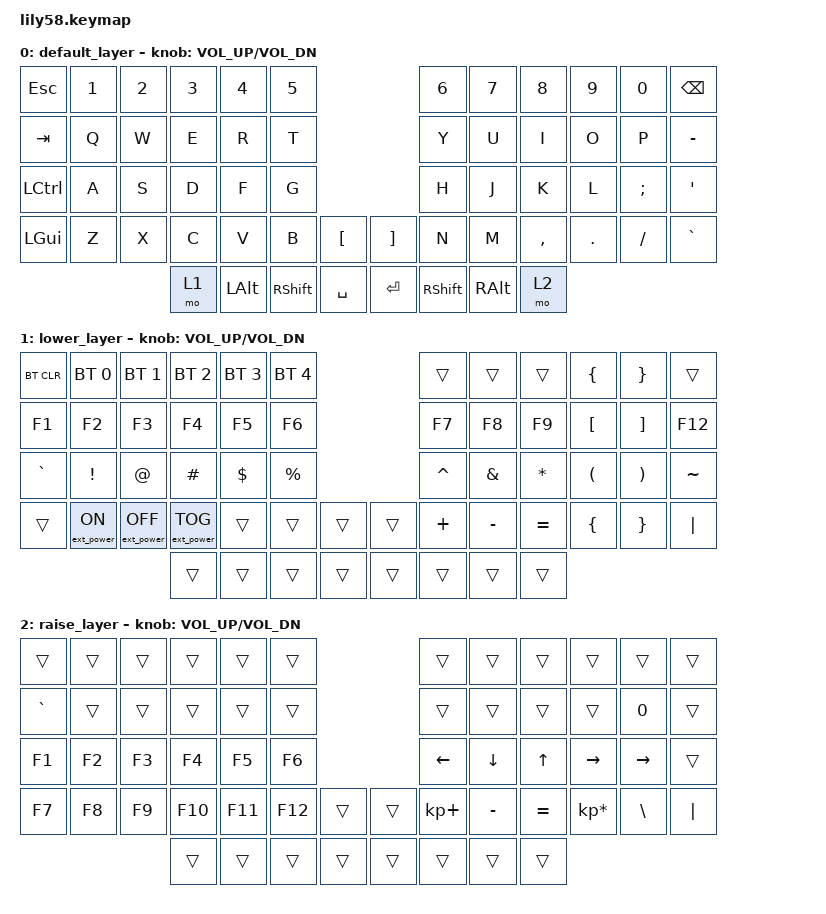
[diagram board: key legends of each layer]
/*
 * Copyright (c) 2020 The ZMK Contributors
 *
 * SPDX-License-Identifier: MIT
 */

#include <behaviors.dtsi>
#include <dt-bindings/zmk/bt.h>
#include <dt-bindings/zmk/ext_power.h>
#include <dt-bindings/zmk/keys.h>

/ {
    keymap {
        compatible = "zmk,keymap";

        default_layer {
            // ------------------------------------------------------------------------------------------------------------
            // |  ESC  |  1  |  2  |  3   |  4   |  5   |                   |  6   |  7    |  8    |  9   |   0   |   `   |
            // |  TAB  |  Q  |  W  |  E   |  R   |  T   |                   |  Y   |  U    |  I    |  O   |   P   |   -   |
            // |  CTRL |  A  |  S  |  D   |  F   |  G   |                   |  H   |  J    |  K    |  L   |   ;   |   '   |
            // | SHIFT |  Z  |  X  |  C   |  V   |  B   |   "["  |  |  "]"  |  N   |  M    |  ,    |  .   |   /   | SHIFT |
            //                     | ALT  | GUI  | LOWER|  SPACE |  | ENTER | RAISE| BSPC  | GUI   |

            bindings = <
&kp ESC       &kp N1  &kp N2  &kp N3  &kp N4        &kp N5                                  &kp N6           &kp N7         &kp N8     &kp N9   &kp N0    &kp BACKSPACE
&kp TAB       &kp Q   &kp W   &kp E   &kp R         &kp T                                   &kp Y            &kp U          &kp I      &kp O    &kp P     &kp MINUS
&kp LCTRL     &kp A   &kp S   &kp D   &kp F         &kp G                                   &kp H            &kp J          &kp K      &kp L    &kp SEMI  &kp SQT
&kp LEFT_GUI  &kp Z   &kp X   &kp C   &kp V         &kp B            &kp LBKT     &kp RBKT  &kp N            &kp M          &kp COMMA  &kp DOT  &kp FSLH  &kp GRAVE
                              &mo 1   &kp LEFT_ALT  &kp RIGHT_SHIFT  &kp SPACE    &kp RET   &kp RIGHT_SHIFT  &kp RIGHT_ALT  &mo 2
            >;

            sensor-bindings = <&inc_dec_kp C_VOL_UP C_VOL_DN>;
        };

        lower_layer {
            // ------------------------------------------------------------------------------------------------------------
            // | BTCLR | BT1 | BT2 |  BT3 |  BT4 |  BT5 |                   |      |       |       |      |       |       |
            // |  F1   |  F2 |  F3 |  F4  |  F5  |  F6  |                   |  F7  |  F8   |  F9   |  F10 |  F11  |  F12  |
            // |   `   |  !  |  @  |  #   |  $   |  %   |                   |  ^   |  &    |  *    |  (   |   )   |   ~   |
            // |       |     |     |      |      |      |        |  |       |      |  _    |  +    |  {   |   }   |  "|"  |
            //                     |      |      |      |        |  |       |      |       |       |

            bindings = <
&bt BT_CLR  &bt BT_SEL 0      &bt BT_SEL 1       &bt BT_SEL 2       &bt BT_SEL 3  &bt BT_SEL 4                    &trans     &trans     &trans     &kp LEFT_BRACE    &kp RIGHT_BRACE    &trans
&kp F1      &kp F2            &kp F3             &kp F4             &kp F5        &kp F6                          &kp F7     &kp F8     &kp F9     &kp LEFT_BRACKET  &kp RIGHT_BRACKET  &kp F12
&kp GRAVE   &kp EXCL          &kp AT             &kp HASH           &kp DOLLAR    &kp PRCNT                       &kp CARET  &kp AMPS   &kp ASTRK  &kp LPAR          &kp RPAR           &kp TILDE
&trans      &ext_power EP_ON  &ext_power EP_OFF  &ext_power EP_TOG  &trans        &trans        &trans    &trans  &kp PLUS   &kp MINUS  &kp EQUAL  &kp LBRC          &kp RBRC           &kp PIPE
                                                 &trans             &trans        &trans        &trans    &trans  &trans     &trans     &trans
            >;

            sensor-bindings = <&inc_dec_kp C_VOL_UP C_VOL_DN>;
        };

        raise_layer {
            // ------------------------------------------------------------------------------------------------------------
            // |       |     |     |      |      |      |                   |      |       |       |      |       |       |
            // |   `   |  1  |  2  |  3   |  4   |  5   |                   |  6   |   7   |   8   |  9   |   0   |       |
            // |   F1  |  F2 |  F3 |  F4  |  F5  |  F6  |                   |      |   <-  |   v   |  ^   |  ->   |       |
            // |   F7  |  F8 |  F9 |  F10 |  F11 |  F12 |        |  |       |  +   |   -   |   =   |  [   |   ]   |   \   |
            //                     |      |      |      |        |  |       |      |       |       |

            bindings = <
&trans     &trans  &trans  &trans   &trans   &trans                     &trans       &trans     &trans        &trans           &trans         &trans
&kp GRAVE  &trans  &trans  &trans   &trans   &trans                     &trans       &trans     &trans        &trans           &kp N0         &trans
&kp F1     &kp F2  &kp F3  &kp F4   &kp F5   &kp F6                     &kp LEFT     &kp DOWN   &kp UP_ARROW  &kp RIGHT        &kp RIGHT      &trans
&kp F7     &kp F8  &kp F9  &kp F10  &kp F11  &kp F12  &trans    &trans  &kp KP_PLUS  &kp MINUS  &kp EQUAL     &kp KP_MULTIPLY  &kp BACKSLASH  &kp PIPE
                           &trans   &trans   &trans   &trans    &trans  &trans       &trans     &trans
            >;

            sensor-bindings = <&inc_dec_kp C_VOL_UP C_VOL_DN>;
        };
    };
};
